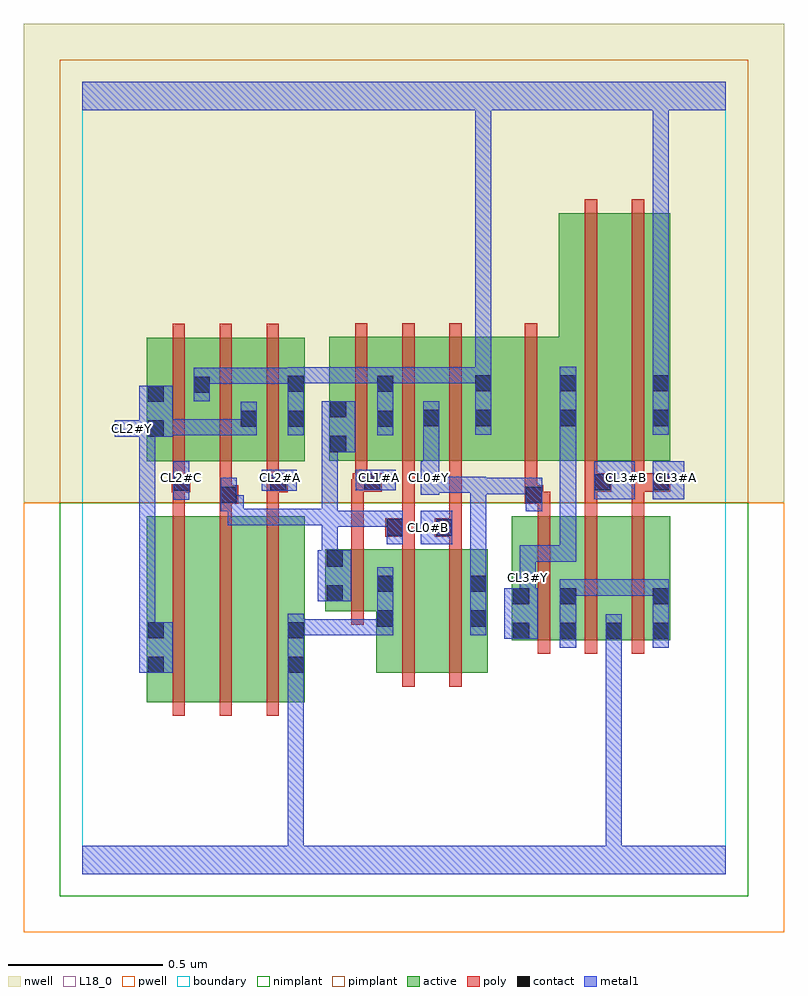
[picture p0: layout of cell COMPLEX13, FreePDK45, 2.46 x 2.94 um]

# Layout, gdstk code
import gdstk
lib = gdstk.Library(unit=1e-6, precision=1e-09)
def R(c, l, rs):  # rectangles x0, y0, x1, y1
    for r in rs: c.add(gdstk.rectangle(r[:2], r[2:], *l))
def A(c, l, x, y, w, h, nx, ny, dx, dy):  # array of equal rectangles
    R(c, l, [(x+i*dx, y+j*dy, x+i*dx+w, y+j*dy+h) for i in range(nx) for j in range(ny)])
active = (1, 0)
pwell = (2, 0)
nwell = (3, 0)
nimplant = (4, 0)
pimplant = (5, 0)
poly = (9, 0)
contact = (10, 0)
metal1 = (11, 0)
L18_0 = (18, 0)
boundary = (235, 0)

complex13 = lib.new_cell('COMPLEX13')
R(complex13, active, [(0.208,0.556,0.268,1.156), (0.208,0.556,0.388,1.156), (0.388,0.556,0.54,1.156), (0.54,0.556,0.72,1.156), (0.66,0.556,0.72,1.156), (0.95,0.65,1.13,1.05), (1.13,0.65,1.31,1.05), (1.25,0.756,1.31,1.05), (1.388,0.756,1.448,1.156), (1.388,0.756,1.6,1.156), (1.54,0.756,1.748,1.156), (1.54,0.756,1.6,0.928), (1.688,0.756,1.9,1.156), (1.688,0.756,1.748,0.828), (1.84,0.756,1.9,1.156), (0.95,0.796,1.01,1.012), (0.786,0.85,1.01,1.05), (0.786,0.85,0.846,1.05), (0.208,1.334,0.416,1.734), (0.208,1.334,0.268,1.644), (0.356,1.334,0.568,1.734), (0.508,1.334,0.72,1.734), (0.66,1.334,0.72,1.644), (0.798,1.336,1.01,1.736), (0.798,1.336,0.858,1.644), (0.95,1.336,1.158,1.736), (1.098,1.336,1.326,1.736), (1.266,1.336,1.6,1.736), (1.54,1.336,1.72,2.136), (1.72,1.336,1.9,2.136), (1.84,1.336,1.9,2.044), (0.508,1.442,0.568,1.644), (0.95,1.442,1.01,1.644), (1.098,1.444,1.158,1.644), (1.266,1.444,1.326,1.644), (1.54,1.444,1.6,1.644), (0.356,1.552,0.416,1.644)])
R(complex13, pwell, [(-0.188,-0.188,2.268,1.2)])
R(complex13, nwell, [(-0.188,1.2,2.268,2.748)])
R(complex13, nimplant, [(-0.072,-0.072,2.152,1.2)])
R(complex13, pimplant, [(-0.072,1.2,2.152,2.632)])
A(complex13, poly, 0.292, 0.512, 0.04, 0.688, 3, 1, 0.152, 0)
A(complex13, poly, 1.472, 0.712, 0.04, 0.488, 3, 1, 0.152, 0)
A(complex13, poly, 0.292, 1.29, 0.04, 0.488, 3, 1, 0.152, 0)
A(complex13, poly, 0.882, 1.292, 0.04, 0.488, 3, 1, 0.152, 0)
R(complex13, poly, [(1.034,0.606,1.074,1.094), (1.186,0.606,1.226,1.094), (0.87,0.806,0.91,1.094), (0.87,1.054,0.91,1.276), (1.034,1.054,1.074,1.13), (1.186,1.054,1.226,1.13), (0.98,1.09,1.074,1.15), (1.14,1.09,1.226,1.15), (1.034,1.11,1.074,1.15), (1.034,1.11,1.074,1.15), (1.034,1.11,1.074,1.332), (1.186,1.11,1.226,1.15), (1.186,1.11,1.226,1.15), (1.186,1.11,1.226,1.332), (0.292,1.16,0.332,1.274), (0.444,1.16,0.484,1.236), (0.596,1.16,0.636,1.274), (1.472,1.16,1.512,1.236), (1.624,1.16,1.664,1.276), (1.776,1.16,1.816,1.276), (0.444,1.196,0.504,1.256), (1.43,1.196,1.49,1.256), (1.45,1.196,1.49,1.236), (1.45,1.196,1.512,1.236), (0.444,1.216,0.484,1.256), (0.444,1.216,0.484,1.256), (0.444,1.216,0.484,1.33), (1.43,1.216,1.47,1.332), (0.29,1.234,0.35,1.294), (0.596,1.234,0.636,1.274), (0.596,1.234,0.636,1.274), (0.596,1.234,0.664,1.294), (0.87,1.236,0.914,1.276), (0.874,1.236,0.914,1.276), (0.874,1.236,0.968,1.296), (1.624,1.236,1.664,1.276), (1.624,1.236,1.664,1.276), (1.624,1.236,1.71,1.296), (1.776,1.236,1.816,1.276), (1.776,1.236,1.816,1.276), (1.776,1.236,1.9,1.296), (0.292,1.254,0.332,1.33), (0.292,1.254,0.332,1.294), (0.292,1.254,0.332,1.294), (0.596,1.254,0.636,1.33), (0.882,1.256,0.922,1.332), (1.624,1.256,1.664,1.332), (1.776,1.256,1.816,1.332), (1.43,1.292,1.47,1.78), (1.624,1.292,1.664,2.18), (1.776,1.292,1.816,2.18)])
R(complex13, contact, [(0.212,0.65,0.264,0.702), (0.664,0.65,0.716,0.702), (1.392,0.76,1.444,0.812), (1.544,0.76,1.596,0.812), (1.692,0.76,1.744,0.812), (1.844,0.76,1.896,0.812), (0.212,0.762,0.264,0.814), (0.664,0.762,0.716,0.814), (0.954,0.8,1.006,0.852), (1.254,0.8,1.306,0.852), (1.392,0.872,1.444,0.924), (1.544,0.872,1.596,0.924), (1.844,0.872,1.896,0.924), (0.79,0.882,0.842,0.934), (0.954,0.912,1.006,0.964), (1.254,0.912,1.306,0.964), (0.79,0.994,0.842,1.046), (0.984,1.094,1.036,1.146), (1.144,1.094,1.196,1.146), (0.448,1.2,0.5,1.252), (1.434,1.2,1.486,1.252), (0.294,1.238,0.346,1.29), (0.608,1.238,0.66,1.29), (0.912,1.24,0.964,1.292), (1.654,1.24,1.706,1.292), (1.844,1.24,1.896,1.292), (0.802,1.364,0.854,1.416), (0.212,1.414,0.264,1.466), (0.512,1.446,0.564,1.498), (0.664,1.446,0.716,1.498), (0.954,1.446,1.006,1.498), (1.102,1.448,1.154,1.5), (1.27,1.448,1.322,1.5), (1.544,1.448,1.596,1.5), (1.844,1.448,1.896,1.5), (0.802,1.476,0.854,1.528), (0.212,1.526,0.264,1.578), (0.36,1.556,0.412,1.608), (0.664,1.558,0.716,1.61), (0.954,1.558,1.006,1.61), (1.27,1.56,1.322,1.612), (1.544,1.56,1.596,1.612), (1.844,1.56,1.896,1.612)])
R(complex13, metal1, [(0,0,2.08,0.092), (0.664,0.04,0.716,0.092), (0.664,0.04,0.716,0.092), (0.664,0.04,0.716,0.092), (0.664,0.04,0.716,0.092), (0.664,0.04,0.716,0.092), (0.664,0.04,0.716,0.092), (0.664,0.04,0.716,0.092), (0.664,0.04,0.716,0.092), (0.664,0.04,0.716,0.674), (1.692,0.04,1.744,0.092), (1.692,0.04,1.744,0.092), (1.692,0.04,1.744,0.092), (1.692,0.04,1.744,0.092), (1.692,0.04,1.744,0.092), (1.692,0.04,1.744,0.092), (1.692,0.04,1.744,0.092), (1.692,0.04,1.744,0.092), (1.692,0.04,1.744,0.092), (1.692,0.04,1.744,0.092), (1.692,0.04,1.744,0.092), (1.692,0.04,1.744,0.092), (1.692,0.04,1.744,0.784), (0.664,0.622,0.716,0.842), (0.184,0.65,0.292,0.814), (1.544,0.732,1.596,0.952), (1.692,0.732,1.744,0.84), (1.844,0.732,1.896,0.952), (1.364,0.76,1.472,0.924), (0.184,0.762,0.236,1.466), (0.664,0.772,0.816,0.824), (0.764,0.772,0.816,0.824), (0.764,0.772,0.816,0.824), (0.764,0.772,0.816,0.824), (0.764,0.772,0.816,0.824), (0.764,0.772,0.816,0.824), (0.764,0.772,0.826,0.824), (0.774,0.772,0.826,0.824), (0.774,0.772,1.006,0.824), (0.954,0.772,1.006,0.992), (1.254,0.772,1.306,0.992), (1.414,0.872,1.466,0.958), (0.762,0.882,0.87,1.046), (1.544,0.9,1.786,0.952), (1.734,0.9,1.786,0.952), (1.734,0.9,1.786,0.952), (1.734,0.9,1.786,0.952), (1.734,0.9,1.896,0.952), (1.844,0.9,1.896,0.952), (1.844,0.9,1.896,0.952), (1.414,0.906,1.466,1.062), (1.254,0.94,1.306,1.28), (0.774,0.994,0.826,1.174), (1.414,1.01,1.596,1.062), (1.544,1.01,1.596,1.062), (1.544,1.01,1.596,1.062), (1.544,1.01,1.596,1.062), (1.544,1.01,1.596,1.062), (1.544,1.01,1.596,1.062), (1.544,1.01,1.596,1.472), (0.984,1.066,1.036,1.174), (1.094,1.066,1.196,1.174), (0.774,1.122,0.826,1.174), (0.774,1.122,0.826,1.174), (0.774,1.122,1.036,1.174), (0.774,1.122,0.826,1.18), (0.984,1.122,1.036,1.174), (0.984,1.122,1.036,1.174), (0.47,1.128,0.704,1.18), (0.47,1.128,0.522,1.224), (0.652,1.128,0.704,1.18), (0.652,1.128,0.704,1.18), (0.652,1.128,0.704,1.18), (0.652,1.128,0.826,1.18), (0.774,1.128,0.826,1.18), (0.774,1.128,0.826,1.18), (0.774,1.128,0.826,1.416), (0.448,1.172,0.5,1.28), (0.448,1.172,0.522,1.224), (1.434,1.172,1.486,1.28), (0.294,1.21,0.346,1.334), (1.654,1.212,1.786,1.334), (1.844,1.212,1.946,1.334), (1.094,1.226,1.154,1.334), (1.254,1.228,1.306,1.28), (1.254,1.228,1.306,1.28), (1.254,1.228,1.486,1.28), (1.254,1.228,1.306,1.284), (1.434,1.228,1.486,1.28), (1.434,1.228,1.486,1.28), (1.102,1.232,1.306,1.284), (1.254,1.232,1.306,1.284), (1.254,1.232,1.306,1.284), (0.58,1.238,0.694,1.306), (0.884,1.24,1.014,1.306), (1.102,1.282,1.154,1.472), (0.774,1.364,0.882,1.528), (0.106,1.414,0.236,1.466), (0.184,1.414,0.236,1.466), (0.184,1.414,0.236,1.466), (0.184,1.414,0.236,1.466), (0.184,1.414,0.292,1.578), (0.24,1.418,0.292,1.47), (0.24,1.418,0.292,1.47), (0.24,1.418,0.412,1.47), (0.36,1.418,0.412,1.47), (0.36,1.418,0.422,1.47), (0.37,1.418,0.422,1.47), (0.37,1.418,0.564,1.47), (0.512,1.418,0.564,1.526), (0.664,1.418,0.716,1.638), (0.954,1.418,1.006,1.638), (1.102,1.42,1.154,1.528), (1.27,1.42,1.322,1.64), (1.544,1.42,1.596,1.64), (1.844,1.42,1.896,1.64), (0.36,1.528,0.412,1.636), (0.36,1.584,0.412,1.636), (0.36,1.584,0.412,1.636), (0.36,1.584,0.522,1.636), (0.47,1.584,0.522,1.636), (0.47,1.584,0.61,1.636), (0.558,1.584,0.61,1.636), (0.558,1.584,0.716,1.636), (0.664,1.586,0.826,1.638), (0.774,1.586,0.826,1.638), (0.774,1.586,0.826,1.638), (0.774,1.586,0.826,1.638), (0.774,1.586,1.006,1.638), (0.954,1.586,1.006,1.638), (0.954,1.586,1.006,1.638), (0.954,1.586,1.196,1.638), (1.144,1.586,1.196,1.638), (1.144,1.586,1.196,1.638), (1.144,1.586,1.196,1.638), (1.144,1.586,1.322,1.638), (1.27,1.588,1.322,1.64), (1.27,1.588,1.322,1.64), (1.27,1.588,1.322,1.64), (1.27,1.588,1.322,1.64), (1.27,1.588,1.322,1.64), (1.27,1.588,1.322,1.64), (1.27,1.588,1.322,2.52), (1.844,1.588,1.896,2.52), (0,2.468,2.08,2.56), (1.27,2.468,1.322,2.52), (1.27,2.468,1.322,2.52), (1.27,2.468,1.322,2.52), (1.27,2.468,1.322,2.52), (1.27,2.468,1.322,2.52), (1.27,2.468,1.322,2.52), (1.27,2.468,1.322,2.52), (1.27,2.468,1.322,2.52), (1.27,2.468,1.322,2.52), (1.27,2.468,1.322,2.52), (1.844,2.468,1.896,2.52), (1.844,2.468,1.896,2.52), (1.844,2.468,1.896,2.52), (1.844,2.468,1.896,2.52), (1.844,2.468,1.896,2.52), (1.844,2.468,1.896,2.52), (1.844,2.468,1.896,2.52), (1.844,2.468,1.896,2.52)])
A(complex13, L18_0, 0.294, 1.254, 0.052, 0.052, 3, 1, 0.32, 0)
R(complex13, L18_0, [(0,0,2.08,0.092), (0.664,0.04,0.716,0.092), (0.664,0.04,0.716,0.092), (0.664,0.04,0.716,0.092), (0.664,0.04,0.716,0.092), (0.664,0.04,0.716,0.092), (0.664,0.04,0.716,0.092), (0.664,0.04,0.716,0.092), (0.664,0.04,0.716,0.092), (0.664,0.04,0.716,0.674), (1.692,0.04,1.744,0.092), (1.692,0.04,1.744,0.092), (1.692,0.04,1.744,0.092), (1.692,0.04,1.744,0.092), (1.692,0.04,1.744,0.092), (1.692,0.04,1.744,0.092), (1.692,0.04,1.744,0.092), (1.692,0.04,1.744,0.092), (1.692,0.04,1.744,0.092), (1.692,0.04,1.744,0.092), (1.692,0.04,1.744,0.092), (1.692,0.04,1.744,0.092), (1.692,0.04,1.744,0.784), (0.664,0.622,0.716,0.842), (0.184,0.65,0.292,0.814), (1.692,0.732,1.744,0.84), (1.364,0.76,1.472,0.924), (0.184,0.762,0.236,1.466), (0.664,0.772,0.816,0.824), (0.764,0.772,0.816,0.824), (0.764,0.772,0.816,0.824), (0.764,0.772,0.816,0.824), (0.764,0.772,0.816,0.824), (0.764,0.772,0.816,0.824), (0.764,0.772,0.826,0.824), (0.774,0.772,0.826,0.824), (0.774,0.772,1.006,0.824), (0.954,0.772,1.006,0.992), (1.254,0.772,1.306,0.992), (1.414,0.872,1.466,0.958), (1.414,0.906,1.466,1.062), (1.414,0.934,1.466,0.986), (1.254,0.94,1.306,1.28), (1.414,1.01,1.596,1.062), (1.544,1.01,1.596,1.062), (1.544,1.01,1.596,1.062), (1.544,1.01,1.596,1.062), (1.544,1.01,1.596,1.062), (1.544,1.01,1.596,1.062), (1.544,1.01,1.596,1.472), (1.094,1.066,1.196,1.174), (1.094,1.094,1.146,1.146), (1.434,1.172,1.486,1.28), (0.294,1.21,0.346,1.334), (1.654,1.212,1.786,1.334), (1.844,1.212,1.946,1.334), (1.094,1.226,1.154,1.334), (1.254,1.228,1.306,1.28), (1.254,1.228,1.306,1.28), (1.254,1.228,1.486,1.28), (1.254,1.228,1.306,1.284), (1.434,1.228,1.486,1.28), (1.434,1.228,1.486,1.28), (1.102,1.232,1.306,1.284), (1.254,1.232,1.306,1.284), (1.254,1.232,1.306,1.284), (0.58,1.238,0.694,1.306), (0.884,1.24,1.014,1.306), (1.094,1.254,1.146,1.306), (1.734,1.254,1.786,1.306), (1.894,1.254,1.946,1.306), (1.102,1.282,1.154,1.472), (0.106,1.414,0.236,1.466), (0.134,1.414,0.186,1.466), (0.184,1.414,0.292,1.578), (0.184,1.414,0.236,1.466), (0.184,1.414,0.236,1.466), (0.184,1.414,0.236,1.466), (0.24,1.418,0.292,1.47), (0.24,1.418,0.292,1.47), (0.24,1.418,0.412,1.47), (0.36,1.418,0.412,1.47), (0.36,1.418,0.422,1.47), (0.37,1.418,0.422,1.47), (0.37,1.418,0.564,1.47), (0.512,1.418,0.564,1.526), (0.664,1.418,0.716,1.638), (0.954,1.418,1.006,1.638), (1.102,1.42,1.154,1.528), (1.27,1.42,1.322,1.64), (1.544,1.42,1.596,1.64), (1.844,1.42,1.896,1.64), (0.36,1.528,0.412,1.636), (0.36,1.584,0.412,1.636), (0.36,1.584,0.412,1.636), (0.36,1.584,0.522,1.636), (0.47,1.584,0.522,1.636), (0.47,1.584,0.61,1.636), (0.558,1.584,0.61,1.636), (0.558,1.584,0.716,1.636), (0.664,1.586,0.826,1.638), (0.774,1.586,0.826,1.638), (0.774,1.586,0.826,1.638), (0.774,1.586,0.826,1.638), (0.774,1.586,1.006,1.638), (0.954,1.586,1.006,1.638), (0.954,1.586,1.006,1.638), (0.954,1.586,1.196,1.638), (1.144,1.586,1.196,1.638), (1.144,1.586,1.196,1.638), (1.144,1.586,1.196,1.638), (1.144,1.586,1.322,1.638), (1.27,1.588,1.322,1.64), (1.27,1.588,1.322,1.64), (1.27,1.588,1.322,1.64), (1.27,1.588,1.322,1.64), (1.27,1.588,1.322,1.64), (1.27,1.588,1.322,1.64), (1.27,1.588,1.322,2.52), (1.844,1.588,1.896,2.52), (0,2.468,2.08,2.56), (1.27,2.468,1.322,2.52), (1.27,2.468,1.322,2.52), (1.27,2.468,1.322,2.52), (1.27,2.468,1.322,2.52), (1.27,2.468,1.322,2.52), (1.27,2.468,1.322,2.52), (1.27,2.468,1.322,2.52), (1.27,2.468,1.322,2.52), (1.27,2.468,1.322,2.52), (1.27,2.468,1.322,2.52), (1.844,2.468,1.896,2.52), (1.844,2.468,1.896,2.52), (1.844,2.468,1.896,2.52), (1.844,2.468,1.896,2.52), (1.844,2.468,1.896,2.52), (1.844,2.468,1.896,2.52), (1.844,2.468,1.896,2.52), (1.844,2.468,1.896,2.52)])
R(complex13, boundary, [(0,0,2.08,2.56)])
complex13.add(gdstk.Label('CL0#B', (1.12,1.12), layer=11, texttype=0))
complex13.add(gdstk.Label('CL0#Y', (1.12,1.28), layer=11, texttype=0))
complex13.add(gdstk.Label('CL1#A', (0.96,1.28), layer=11, texttype=0))
complex13.add(gdstk.Label('CL2#A', (0.64,1.28), layer=11, texttype=0))
complex13.add(gdstk.Label('CL2#C', (0.32,1.28), layer=11, texttype=0))
complex13.add(gdstk.Label('CL2#Y', (0.16,1.44), layer=11, texttype=0))
complex13.add(gdstk.Label('CL3#A', (1.92,1.28), layer=11, texttype=0))
complex13.add(gdstk.Label('CL3#B', (1.76,1.28), layer=11, texttype=0))
complex13.add(gdstk.Label('CL3#Y', (1.44,0.96), layer=11, texttype=0))

lib.write_gds('COMPLEX13.gds')
